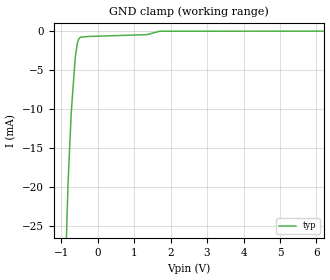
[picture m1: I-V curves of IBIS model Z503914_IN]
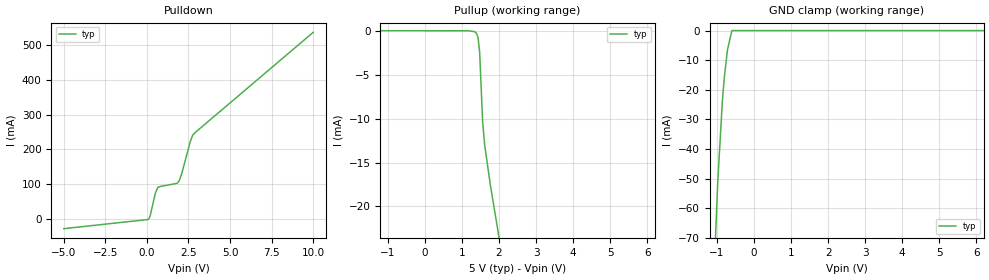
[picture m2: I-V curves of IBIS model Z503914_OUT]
| YOU ARE ONLY AUTHORIZED TO USE THIS SOFTWARE
| ACCORDING TO LICENSOR'S LICENSE RESTRICTIONS.
[IBIS Ver] 3.1
[File Name] mc54f169j.ibs
[File Rev] 2.0
[Source] Measured and created by ICX Technology
[Date] Friday 7/14/00 9:08:02 AM
[Copyright]
| (C) COPYRIGHT 1993-2000
| MENTOR GRAPHICS CORPORATION
| ICX STANDARD LIBRARY, ICX PROJECT MODELING,
| ICX CUSTOM MODELING, ICX VENDOR MODEL
| ALL RIGHTS RESERVED.
| THE FOLLOWING ARE TRADEMARKS OR SERVICE MARKS OF
| MENTOR GRAPHICS CORPORATION:ICX (R), ICX STANDARD
| LIBRARY(R), ICX PROJECT MODELING(R), ICX CUSTOM
| MODELING(R), qualityIBIS(TM), MODELVIEWER(TM),
| AND MODELEDITOR(TM)
| ALL COPIES OF SOFTWARE, INCLUDING BUT NOT LIMITED TO
| ANY MODIFICATIONS, ENHANCEMENTS OR DERIVATIVE WORKS,
| MUST CONTAIN ALL MENTOR GRAPHICS CORPORATION'S
| NOTICES AND LEGENDS, INCLUDING THOSE EMBEDDED IN
| SOFTWARE AND THOSE AFFIXED TO SOFTWARE MEDIUM
| AND CONTAINER, AS RECEIVED FROM MENTOR GRAPHICS
| CORPORATION.
|  ZAP Model Builder 2.7
[Component] MC54F169J
[Manufacturer] OnSemiconductor
[Package]
| variable   typ   min   max
R_pkg  .212ohms NA NA
L_pkg  4.758nH NA NA
C_pkg  1.944pF NA NA
[Pin] signal_name  model_name  R_pin  L_pin C_pin
1 U_D Z503914_IN .224 7.258n 2.683p
2 CLK Z503914_IN .216 5.258n 2.19p
3 A Z503914_IN .208 3.758n 1.697p
4 B Z503914_IN .2 2.758n 1.204p
5 C Z503914_IN .2 2.758n 1.204p
6 D Z503914_IN .208 3.758n 1.697p
7 _ENP Z503914_IN .216 5.258n 2.19p
8 GND GND .224 7.258n 2.683p
9 _LOAD Z503914_IN .224 7.258n 2.683p
10 _ENT Z503914_IN .216 5.258n 2.19p
11 QD Z503914_OUT .208 3.758n 1.697p
12 QC Z503914_OUT .2 2.758n 1.204p
13 QB Z503914_OUT .2 2.758n 1.204p
14 QA Z503914_OUT .208 3.758n 1.697p
15 _RCO Z503914_OUT .216 5.258n 2.19p
16 VCC POWER .224 7.258n 2.683p
| Models and submodels in the file (2): Z503914_IN (Input), Z503914_OUT (Output)
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| (C) COPYRIGHT 1993-2000
| MENTOR GRAPHICS CORPORATION
| ICX STANDARD LIBRARY, ICX PROJECT MODELING,
| ICX CUSTOM MODELING, ICX VENDOR MODEL
| ALL RIGHTS RESERVED.
| THE FOLLOWING ARE TRADEMARKS OR SERVICE MARKS OF
| MENTOR GRAPHICS CORPORATION:ICX (R), ICX STANDARD
| LIBRARY(R), ICX PROJECT MODELING(R), ICX CUSTOM
| MODELING(R), qualityIBIS(TM), MODELVIEWER(TM),
| AND MODELEDITOR(TM)
| ALL COPIES OF SOFTWARE, INCLUDING BUT NOT LIMITED TO
| ANY MODIFICATIONS, ENHANCEMENTS OR DERIVATIVE WORKS,
| MUST CONTAIN ALL MENTOR GRAPHICS CORPORATION'S
| NOTICES AND LEGENDS, INCLUDING THOSE EMBEDDED IN
| SOFTWARE AND THOSE AFFIXED TO SOFTWARE MEDIUM
| AND CONTAINER, AS RECEIVED FROM MENTOR GRAPHICS
| CORPORATION.
| Model Application Version 1.89 2/18/99.
[Model] Z503914_IN
Model_type Input
Vinl = 800.0mV
Vinh = 2.000V
C_comp 4.000pF NA NA
| variable typ   min   max
[Voltage Range] 5.000V NA NA
[GND Clamp Reference] 0.000V NA NA
[POWER Clamp Reference] 5.000V NA NA
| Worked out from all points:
|   GND clamp passes 1 mA (typ) near -0.51 V on its own axis
[GND Clamp]
-5V       -671.2mA   NA         NA
-810.5mV  -19.61mA   NA         NA
-722.7mV  -10.44mA   NA         NA
-613.1mV  -3.403mA   NA         NA
-555.2mV  -1.545mA   NA         NA
-521.3mV  -1.039mA   NA         NA
-498mV    -898.7uA   NA         NA
-459mV    -760.3uA   NA         NA
-229.5mV  -676.8uA   NA         NA
1.348V    -441.3uA   NA         NA
1.704V    -6.686uA   NA         NA
10V       13.22uA    NA         NA
[POWER Clamp]
-5V       0A         NA         NA
10V       0A         NA         NA
| (C) COPYRIGHT 1993-2000
| MENTOR GRAPHICS CORPORATION
| ICX STANDARD LIBRARY, ICX PROJECT MODELING,
| ICX CUSTOM MODELING, ICX VENDOR MODEL
| ALL RIGHTS RESERVED.
| THE FOLLOWING ARE TRADEMARKS OR SERVICE MARKS OF
| MENTOR GRAPHICS CORPORATION:ICX (R), ICX STANDARD
| LIBRARY(R), ICX PROJECT MODELING(R), ICX CUSTOM
| MODELING(R), qualityIBIS(TM), MODELVIEWER(TM),
| AND MODELEDITOR(TM)
| ALL COPIES OF SOFTWARE, INCLUDING BUT NOT LIMITED TO
| ANY MODIFICATIONS, ENHANCEMENTS OR DERIVATIVE WORKS,
| MUST CONTAIN ALL MENTOR GRAPHICS CORPORATION'S
| NOTICES AND LEGENDS, INCLUDING THOSE EMBEDDED IN
| SOFTWARE AND THOSE AFFIXED TO SOFTWARE MEDIUM
| AND CONTAINER, AS RECEIVED FROM MENTOR GRAPHICS
| CORPORATION.
| Model Application Version 1.89 2/18/99.
[Model] Z503914_OUT
Model_type Output
Vref=0.000V
Rref=500.0ohms
Cref=50.00pF
Vmeas=1.500V
C_comp 8.000pF NA NA
| variable typ   min   max
[Voltage Range] 5.000V NA NA
[POWER Clamp Reference] 5.000V NA NA
[Pullup Reference] 5.000V NA NA
[Pulldown Reference] 0.000V NA NA
[GND Clamp Reference] 0.000V NA NA
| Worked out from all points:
|   slope of the pulldown table from 0 to 0.75 V, typ, clamps not added: 7.98 ohm
|   GND clamp passes 1 mA (typ) near -0.62 V on its own axis
[GND Clamp]
-5V       -1.706A    NA         NA
-1.118V   -94.21mA   NA         NA
-982.2mV  -51.89mA   NA         NA
-854.5mV  -23.74mA   NA         NA
-804.3mV  -16.1mA    NA         NA
-717.7mV  -6.574mA   NA         NA
-598.1mV  0A         NA         NA
10V       0A         NA         NA
[Pulldown]
-5V       -27.41mA   NA         NA
87.89mV   -228uA     NA         NA
198.6mV   10.43mA    NA         NA
507.8mV   74.74mA    NA         NA
650mV     90.81mA    NA         NA
1.772V    102.2mA    NA         NA
1.89V     106.2mA    NA         NA
1.962V    112.7mA    NA         NA
2.085V    129mA      NA         NA
2.598V    220.7mA    NA         NA
2.775V    242.1mA    NA         NA
10V       535.6mA    NA         NA
[Pullup]
-5V       26.5uA     NA         NA
1.167V    4.215uA    NA         NA
1.324V    -84.44uA   NA         NA
1.362V    -164.5uA   NA         NA
1.401V    -370uA     NA         NA
1.436V    -854.4uA   NA         NA
1.477V    -2.453mA   NA         NA
1.557V    -10.36mA   NA         NA
1.612V    -12.99mA   NA         NA
1.763V    -17.49mA   NA         NA
10V       -228.2mA   NA         NA
[POWER Clamp]
-5V       0A         NA         NA
10V       0A         NA         NA
[Ramp]
| variable typ min max
dV/dt_r 2.033/2.870n NA NA
dV/dt_f 2.033/1.408n NA NA
R_load = 500.0Ohms
